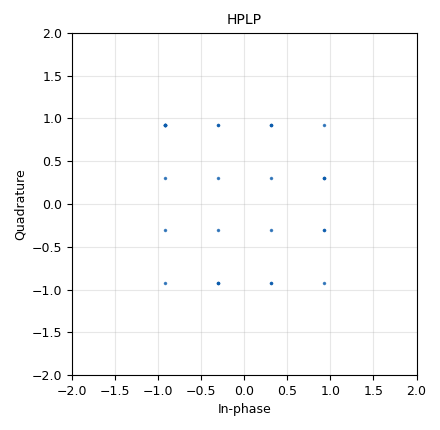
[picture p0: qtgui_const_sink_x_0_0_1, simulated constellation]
options:
  parameters:
    author: wes
    generate_options: qt_gui
    id: chunks_test
    output_language: python
    title: Not titled yet
  states: {}

blocks:
- name: constel_hp
  id: variable_constellation
  parameters:
    const_points: '[-1-1j, -1+1j, 1-1j, 1+1j]'
    dims: '1'
    precision: '8'
    rot_sym: '4'
    soft_dec_lut: '''auto'''
    sym_map: '[0, 1, 2, 3]'
    type: calcdist
  states: {}
- name: constel_lp
  id: variable_constellation
  parameters:
    const_points: '[-3-3j, -3+3j, 3-3j, 3+3j]'
    dims: '1'
    precision: '8'
    rot_sym: '4'
    soft_dec_lut: '''auto'''
    sym_map: '[0, 1, 2, 3]'
    type: calcdist
  states: {}
- name: qpsk_const
  id: variable_constellation
  parameters:
    const_points: digital.psk_4()[0]
    dims: '1'
    precision: '8'
    rot_sym: '4'
    soft_dec_lut: '''auto'''
    sym_map: digital.psk_4()[1]
    type: calcdist
  states: {state: disabled}
- name: samp_rate
  id: variable
  parameters:
    value: '100000'
  states: {}
- name: analog_agc_xx_0
  id: analog_agc_xx
  parameters:
    gain: '1.0'
    max_gain: '65536'
    rate: '1e-4'
    reference: '1.0'
    type: complex
  states: {}
- name: blocks_add_xx_0
  id: blocks_add_xx
  parameters:
    type: complex
  states: {}
- name: blocks_char_to_float_0
  id: blocks_char_to_float
  parameters:
    scale: '1'
  states: {state: disabled}
- name: blocks_char_to_float_0_0
  id: blocks_char_to_float
  parameters:
    scale: '1'
  states: {state: disabled}
- name: blocks_message_debug_0
  id: blocks_message_debug
  parameters: {}
  states: {}
- name: blocks_message_debug_0_0
  id: blocks_message_debug
  parameters: {}
  states: {}
- name: blocks_multiply_const_vxx_0
  id: blocks_multiply_const_vxx
  parameters:
    const: '0.3'
    type: complex
  states: {}
- name: blocks_multiply_const_vxx_0_1
  id: blocks_multiply_const_vxx
  parameters:
    const: '1.4142'
    type: complex
  states: {}
- name: blocks_multiply_const_vxx_0_1_0
  id: blocks_multiply_const_vxx
  parameters:
    const: '2.8284'
    type: complex
  states: {}
- name: blocks_null_sink_0
  id: blocks_null_sink
  parameters:
    type: byte
  states: {state: disabled}
- name: blocks_null_sink_0_0
  id: blocks_null_sink
  parameters:
    type: byte
  states: {state: disabled}
- name: blocks_null_sink_0_1
  id: blocks_null_sink
  parameters:
    type: byte
  states: {state: disabled}
- name: blocks_null_sink_0_2
  id: blocks_null_sink
  parameters:
    type: byte
  states: {state: disabled}
- name: blocks_null_sink_0_2_0
  id: blocks_null_sink
  parameters:
    type: byte
  states: {state: disabled}
- name: blocks_null_sink_0_3
  id: blocks_null_sink
  parameters:
    type: byte
  states: {state: disabled}
- name: blocks_null_sink_0_4
  id: blocks_null_sink
  parameters:
    type: byte
  states: {state: disabled}
- name: blocks_stream_to_tagged_stream_0_0
  id: blocks_stream_to_tagged_stream
  parameters:
    len_tag_key: '"lp_packet_len"'
    packet_len: '30'
    type: byte
  states: {}
- name: blocks_stream_to_tagged_stream_0_0_0
  id: blocks_stream_to_tagged_stream
  parameters:
    len_tag_key: '"hp_packet_len"'
    packet_len: '30'
    type: byte
  states: {}
- name: blocks_tagged_stream_to_pdu_0
  id: blocks_tagged_stream_to_pdu
  parameters:
    tag: hp_packet_len
    type: byte
  states: {}
- name: blocks_tagged_stream_to_pdu_0_0
  id: blocks_tagged_stream_to_pdu
  parameters:
    tag: lp_packet_len
    type: byte
  states: {}
- name: blocks_vector_source_x_0
  id: blocks_vector_source_x
  parameters:
    repeat: 'True'
    type: byte
    vector: (0,1,1,2,2,1,3,0,3,1,1,1,2,2,3,0,0,0,1,1,1,1,2,2,3,3,2,2,1,3)
  states: {}
- name: blocks_vector_source_x_0_0
  id: blocks_vector_source_x
  parameters:
    repeat: 'True'
    type: byte
    vector: (0,1,3,0,2,1,1,3,3,1,2,3,3,1,1,1,2,2,1,1,0,3,0,0,2,2,3,3,1,0)
  states: {}
- name: checkevm_getevm_0
  id: checkevm_getevm
  parameters:
    max_evm: '0.1'
  states: {}
- name: digital_chunks_to_symbols_xx_0_0
  id: digital_chunks_to_symbols_xx
  parameters:
    dimension: '1'
    in_type: byte
    out_type: complex
    symbol_table: constel_hp.points()
  states: {}
- name: digital_chunks_to_symbols_xx_0_0_0
  id: digital_chunks_to_symbols_xx
  parameters:
    dimension: '1'
    in_type: byte
    out_type: complex
    symbol_table: constel_lp.points()
  states: {}
- name: qtgui_const_sink_x_0
  id: qtgui_const_sink_x
  parameters:
    name: '"HP"'
    size: '1024'
    type: complex
  states: {state: disabled}
- name: qtgui_const_sink_x_0_0
  id: qtgui_const_sink_x
  parameters:
    name: '"LP"'
    size: '1024'
    type: complex
  states: {state: disabled}
- name: qtgui_const_sink_x_0_0_0
  id: qtgui_const_sink_x
  parameters:
    size: '1024'
    type: complex
  states: {state: disabled}
- name: qtgui_const_sink_x_0_0_1
  id: qtgui_const_sink_x
  parameters:
    name: '"HPLP"'
    size: '30'
    type: complex
    update_time: '1'
  states: {}
- name: qtgui_time_sink_x_0
  id: qtgui_time_sink_x
  parameters:
    name: '"HP Time Sink"'
    size: '1024'
    srate: samp_rate
    type: complex
  states: {state: disabled}
- name: qtgui_time_sink_x_0_0
  id: qtgui_time_sink_x
  parameters:
    size: '1024'
    srate: samp_rate
    type: complex
  states: {state: disabled}
- name: qtgui_time_sink_x_0_1
  id: qtgui_time_sink_x
  parameters:
    autoscale: 'True'
    grid: 'True'
    name: '"HP"'
    size: '30'
    srate: samp_rate
    type: float
    update_time: '1'
  states: {state: disabled}
- name: qtgui_time_sink_x_0_1_0
  id: qtgui_time_sink_x
  parameters:
    autoscale: 'True'
    grid: 'True'
    name: '"LP"'
    size: '30'
    srate: samp_rate
    type: float
    update_time: '1'
  states: {state: disabled}
- name: virtual_sink_0
  id: virtual_sink
  parameters:
    stream_id: zam
  states: {}
- name: virtual_sink_1
  id: virtual_sink
  parameters:
    stream_id: srczam
  states: {state: disabled}
- name: virtual_sink_1_0
  id: virtual_sink
  parameters:
    stream_id: srczam2
  states: {state: disabled}
- name: virtual_source_0
  id: virtual_source
  parameters:
    stream_id: zam
  states: {}
- name: virtual_source_1
  id: virtual_source
  parameters:
    stream_id: srczam
  states: {state: disabled}
- name: virtual_source_1_0
  id: virtual_source
  parameters:
    stream_id: srczam2
  states: {state: disabled}

connections:
- [analog_agc_xx_0, '0', checkevm_getevm_0, '0']
- [analog_agc_xx_0, '0', qtgui_const_sink_x_0_0_1, '0']
- [blocks_add_xx_0, '0', blocks_multiply_const_vxx_0, '0']
- [blocks_char_to_float_0, '0', qtgui_time_sink_x_0_1, '0']
- [blocks_char_to_float_0_0, '0', qtgui_time_sink_x_0_1_0, '0']
- [blocks_multiply_const_vxx_0, '0', virtual_sink_0, '0']
- [blocks_multiply_const_vxx_0_1, '0', blocks_add_xx_0, '0']
- [blocks_multiply_const_vxx_0_1, '0', qtgui_const_sink_x_0, '0']
- [blocks_multiply_const_vxx_0_1, '0', qtgui_time_sink_x_0, '0']
- [blocks_multiply_const_vxx_0_1_0, '0', blocks_add_xx_0, '1']
- [blocks_multiply_const_vxx_0_1_0, '0', qtgui_const_sink_x_0_0, '0']
- [blocks_stream_to_tagged_stream_0_0, '0', blocks_tagged_stream_to_pdu_0_0, '0']
- [blocks_stream_to_tagged_stream_0_0_0, '0', blocks_tagged_stream_to_pdu_0, '0']
- [blocks_tagged_stream_to_pdu_0, pdus, blocks_message_debug_0, print_pdu]
- [blocks_tagged_stream_to_pdu_0_0, pdus, blocks_message_debug_0_0, print_pdu]
- [blocks_vector_source_x_0, '0', digital_chunks_to_symbols_xx_0_0, '0']
- [blocks_vector_source_x_0, '0', virtual_sink_1, '0']
- [blocks_vector_source_x_0_0, '0', digital_chunks_to_symbols_xx_0_0_0, '0']
- [blocks_vector_source_x_0_0, '0', virtual_sink_1_0, '0']
- [checkevm_getevm_0, '0', blocks_null_sink_0, '0']
- [checkevm_getevm_0, '0', blocks_stream_to_tagged_stream_0_0_0, '0']
- [checkevm_getevm_0, '1', blocks_null_sink_0_4, '0']
- [checkevm_getevm_0, '1', blocks_stream_to_tagged_stream_0_0, '0']
- [digital_chunks_to_symbols_xx_0_0, '0', blocks_multiply_const_vxx_0_1, '0']
- [digital_chunks_to_symbols_xx_0_0_0, '0', blocks_multiply_const_vxx_0_1_0, '0']
- [virtual_source_0, '0', analog_agc_xx_0, '0']
- [virtual_source_1, '0', blocks_stream_to_tagged_stream_0_0_0, '0']
- [virtual_source_1_0, '0', blocks_stream_to_tagged_stream_0_0, '0']

metadata:
  file_format: 1
